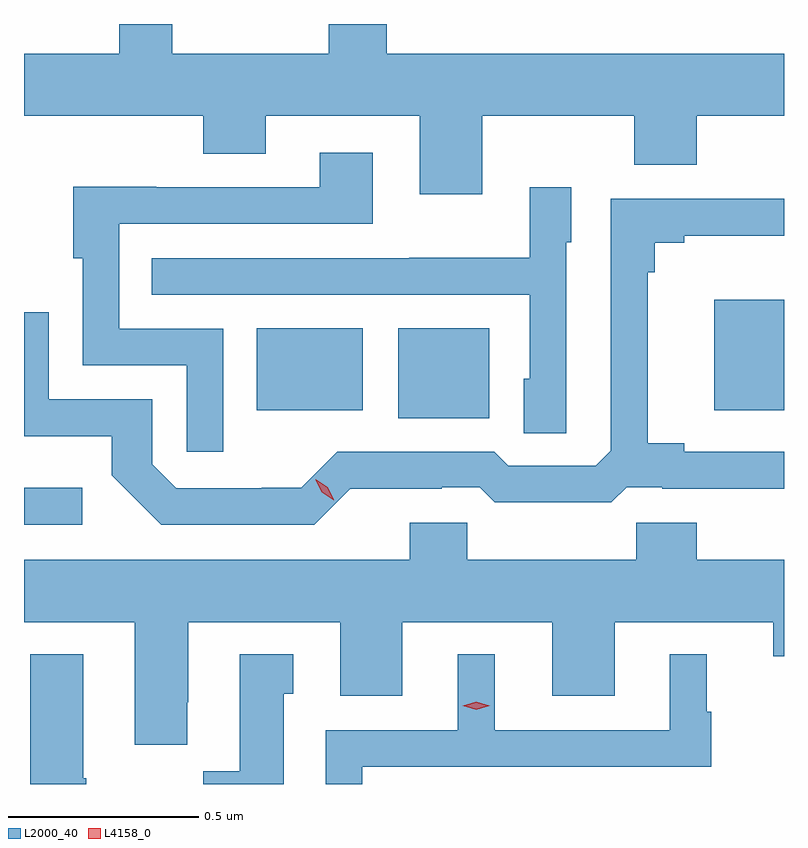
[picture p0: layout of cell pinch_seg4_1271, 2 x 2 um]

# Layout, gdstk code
import gdstk
lib = gdstk.Library(unit=1e-6, precision=1e-09)
def R(c, l, rs):  # rectangles x0, y0, x1, y1
    for r in rs: c.add(gdstk.rectangle(r[:2], r[2:], *l))
def P(c, l, *ps):  # polygons
    for p in ps: c.add(gdstk.Polygon(p, *l))
L2000_40 = (2000, 40)
L4158_0 = (4158, 0)

pinch_seg4_1271 = lib.new_cell('pinch_seg4_1271')
R(pinch_seg4_1271, L2000_40, [(144.991,815.724,145.144,815.821), (145.976,816.005,146.215,816.241), (145.604,816.026,145.882,816.241), (146.807,816.026,146.991,816.316)])
P(pinch_seg4_1271, L2000_40, [(146.197,816.8),(146.597,816.8),(146.597,816.672),(146.761,816.672),(146.761,816.8),(146.991,816.8),(146.991,816.964),(145.946,816.964),(145.946,817.042),(145.793,817.042),(145.793,816.964),(145.381,816.964),(145.381,817.042),(145.241,817.042),(145.241,816.964),(144.991,816.964),(144.991,816.8),(145.463,816.8),(145.463,816.701),(145.627,816.701),(145.627,816.8),(146.033,816.8),(146.033,816.594),(146.197,816.594)],
  [(145.515,816.24),(145.242,816.24),(145.242,816.516),(145.909,816.516),(145.909,816.703),(145.769,816.703),(145.769,816.612),(145.339,816.612),(145.339,816.614),(145.121,816.614),(145.121,816.426),(145.146,816.426),(145.146,816.144),(145.419,816.144),(145.419,815.916),(145.515,815.916)],
  [(146.418,816.468),(146.431,816.468),(146.431,816.613),(146.322,816.613),(146.322,816.427),(146.005,816.427),(146.005,816.426),(145.327,816.426),(145.327,816.33),(146.322,816.33),(146.322,816.108),(146.306,816.108),(146.306,815.965),(146.418,815.965)],
  [(145.85,815.819),(146.09,815.819),(146.09,815.823),(146.19,815.823),(146.23,815.784),(146.537,815.784),(146.577,815.823),(146.671,815.823),(146.671,815.819),(146.991,815.819),(146.991,815.916),(146.728,815.916),(146.728,815.939),(146.632,815.939),(146.632,816.389),(146.651,816.389),(146.651,816.466),(146.728,816.466),(146.728,816.485),(146.991,816.485),(146.991,816.582),(146.535,816.582),(146.535,815.919),(146.496,815.88),(146.265,815.88),(146.229,815.916),(145.815,815.916),(145.721,815.822),(145.616,815.822),(145.616,815.82),(145.392,815.82),(145.329,815.883),(145.329,816.054),(145.056,816.054),(145.056,816.283),(144.991,816.283),(144.991,815.957),(145.222,815.957),(145.222,815.855),(145.352,815.724),(145.755,815.724)],
  [(145.42,815.257),(145.423,815.257),(145.423,815.468),(145.823,815.468),(145.823,815.274),(145.987,815.274),(145.987,815.468),(146.381,815.468),(146.381,815.274),(146.545,815.274),(146.545,815.468),(146.963,815.468),(146.963,815.378),(146.991,815.378),(146.991,815.632),(146.762,815.632),(146.762,815.73),(146.602,815.73),(146.602,815.632),(146.157,815.632),(146.157,815.73),(146.006,815.73),(146.006,815.632),(144.991,815.632),(144.991,815.468),(145.283,815.468),(145.283,815.145),(145.42,815.145)],
  [(145.881,815.088),(146.8,815.088),(146.8,815.232),(146.788,815.232),(146.788,815.383),(146.69,815.383),(146.69,815.184),(146.23,815.184),(146.23,815.383),(146.132,815.383),(146.132,815.184),(145.785,815.184),(145.785,815.042),(145.881,815.042)],
  [(145.675,815.28),(145.699,815.28),(145.699,815.383),(145.559,815.383),(145.559,815.076),(145.463,815.076),(145.463,815.042),(145.675,815.042)],
  [(145.155,815.057),(145.147,815.057),(145.147,815.383),(145.007,815.383),(145.007,815.042),(145.155,815.042)])
P(pinch_seg4_1271, L4158_0, [(146.181,815.238),(146.145,815.248),(146.145,815.248),(146.145,815.248),(146.181,815.258),(146.217,815.248),(146.217,815.248),(146.217,815.248)],
  [(145.806,815.789),(145.775,815.81),(145.759,815.843),(145.759,815.844),(145.759,815.844),(145.79,815.823),(145.806,815.79),(145.806,815.789)])

lib.write_gds('pinch_seg4_1271.gds')
